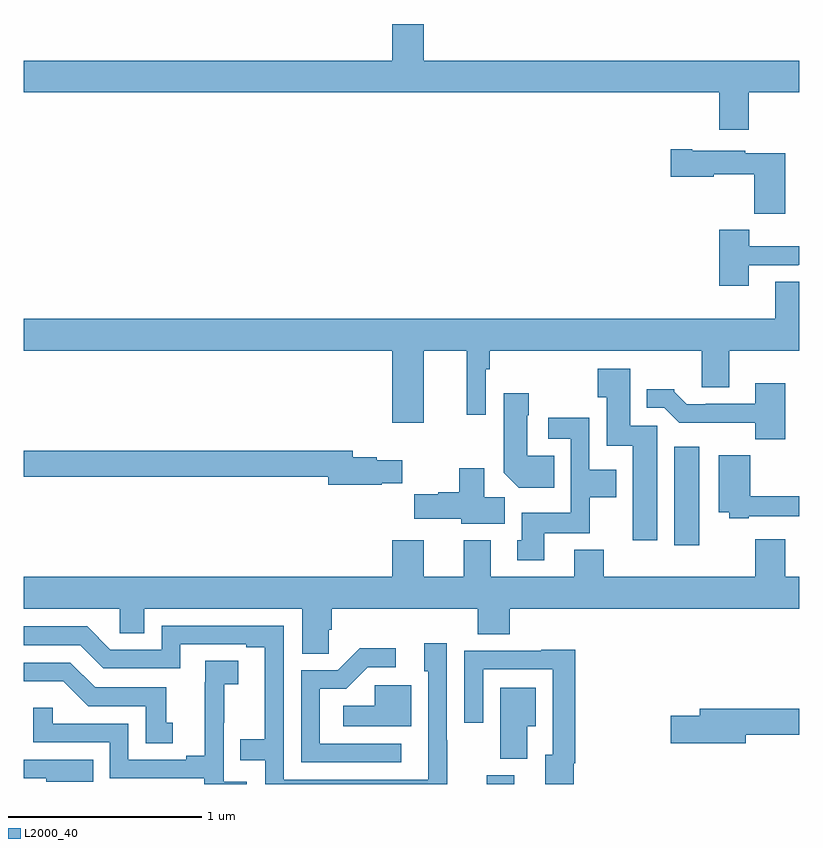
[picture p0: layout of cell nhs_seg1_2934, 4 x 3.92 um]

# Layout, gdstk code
import gdstk
lib = gdstk.Library(unit=1e-6, precision=1e-09)
def R(c, l, rs):  # rectangles x0, y0, x1, y1
    for r in rs: c.add(gdstk.rectangle(r[:2], r[2:], *l))
def P(c, l, *ps):  # polygons
    for p in ps: c.add(gdstk.Polygon(p, *l))
L2000_40 = (2000, 40)

nhs_seg1_2934 = lib.new_cell('nhs_seg1_2934')
R(nhs_seg1_2934, L2000_40, [(273.389,512.199,273.529,512.244), (274.355,513.432,274.486,513.94)])
P(nhs_seg1_2934, L2000_40, [(274.741,515.768),(275,515.768),(275,515.932),(273.064,515.932),(273.064,516.121),(272.9,516.121),(272.9,515.932),(271,515.932),(271,515.768),(274.589,515.768),(274.589,515.574),(274.741,515.574)],
  [(274.93,515.455),(274.722,515.455),(274.722,515.467),(274.45,515.467),(274.45,515.475),(274.338,515.475),(274.338,515.333),(274.56,515.333),(274.56,515.345),(274.768,515.345),(274.768,515.141),(274.93,515.141)],
  [(274.741,514.875),(274.997,514.875),(274.997,514.878),(275,514.878),(275,514.975),(274.744,514.975),(274.744,515.059),(274.589,515.059),(274.589,514.77),(274.741,514.77)],
  [(273.064,514.436),(273.286,514.436),(273.286,514.104),(273.384,514.104),(273.384,514.34),(273.404,514.34),(273.404,514.436),(274.499,514.436),(274.499,514.246),(274.639,514.246),(274.639,514.436),(275,514.436),(275,514.79),(274.877,514.79),(274.877,514.6),(271,514.6),(271,514.436),(272.9,514.436),(272.9,514.062),(273.064,514.062)],
  [(274.267,514.047),(274.129,514.047),(274.129,514.342),(273.961,514.342),(273.961,514.195),(274.007,514.195),(274.007,513.944),(274.142,513.944),(274.142,513.456),(274.267,513.456)],
  [(274.928,514.267),(274.775,514.267),(274.775,514.161),(274.519,514.161),(274.519,514.158),(274.42,514.158),(274.356,514.222),(274.356,514.237),(274.214,514.237),(274.214,514.14),(274.305,514.14),(274.381,514.064),(274.773,514.064),(274.773,513.977),(274.928,513.977)],
  [(273.737,513.892),(273.598,513.892),(273.598,514.103),(273.606,514.103),(273.606,514.216),(273.476,514.216),(273.476,513.806),(273.554,513.728),(273.737,513.728)],
  [(273.685,513.494),(273.921,513.494),(273.921,513.68),(274.057,513.68),(274.057,513.82),(273.918,513.82),(273.918,514.09),(273.705,514.09),(273.705,513.981),(273.822,513.981),(273.822,513.598),(273.569,513.598),(273.569,513.456),(273.545,513.456),(273.545,513.354),(273.685,513.354)],
  [(272.846,513.751),(272.951,513.751),(272.951,513.871),(272.82,513.871),(272.82,513.884),(272.698,513.884),(272.698,513.92),(271,513.92),(271,513.784),(272.57,513.784),(272.57,513.742),(272.846,513.742)],
  [(274.741,513.582),(275,513.582),(275,513.683),(274.748,513.683),(274.748,513.895),(274.586,513.895),(274.586,513.602),(274.641,513.602),(274.641,513.57),(274.741,513.57)],
  [(273.481,513.68),(273.376,513.68),(273.376,513.829),(273.247,513.829),(273.247,513.704),(273.138,513.704),(273.138,513.693),(273.013,513.693),(273.013,513.569),(273.258,513.569),(273.258,513.542),(273.481,513.542)],
  [(272.574,512.995),(272.588,512.995),(272.588,513.104),(273.341,513.104),(273.341,512.971),(273.506,512.971),(273.506,513.104),(275,513.104),(275,513.268),(274.928,513.268),(274.928,513.463),(274.775,513.463),(274.775,513.268),(273.992,513.268),(273.992,513.409),(273.839,513.409),(273.839,513.268),(273.409,513.268),(273.409,513.457),(273.269,513.457),(273.269,513.268),(273.064,513.268),(273.064,513.457),(272.9,513.457),(272.9,513.268),(271,513.268),(271,513.104),(271.494,513.104),(271.494,512.977),(271.621,512.977),(271.621,513.104),(272.435,513.104),(272.435,512.872),(272.574,512.872)],
  [(273.185,512.426),(273.183,512.426),(273.183,512.926),(273.065,512.926),(273.065,512.781),(273.087,512.781),(273.087,512.22),(272.34,512.22),(272.34,513.015),(271.71,513.015),(271.71,512.892),(271.446,512.892),(271.326,513.012),(271,513.012),(271,512.916),(271.29,512.916),(271.41,512.796),(271.806,512.796),(271.806,512.919),(272.147,512.919),(272.147,512.904),(272.243,512.904),(272.243,512.431),(272.116,512.431),(272.116,512.322),(272.244,512.322),(272.244,512.199),(273.185,512.199)],
  [(272.947,512.406),(272.526,512.406),(272.526,512.691),(272.664,512.691),(272.775,512.802),(272.92,512.802),(272.92,512.9),(272.732,512.9),(272.619,512.787),(272.43,512.787),(272.43,512.31),(272.947,512.31)],
  [(273.838,512.305),(273.845,512.305),(273.845,512.893),(273.669,512.893),(273.669,512.886),(273.273,512.886),(273.273,512.514),(273.369,512.514),(273.369,512.79),(273.729,512.79),(273.729,512.349),(273.689,512.349),(273.689,512.199),(273.838,512.199)],
  [(272.149,512.211),(272.031,512.211),(272.031,512.515),(272.033,512.515),(272.033,512.713),(272.107,512.713),(272.107,512.834),(271.936,512.834),(271.936,512.723),(271.934,512.723),(271.934,512.345),(271.838,512.345),(271.838,512.325),(271.539,512.325),(271.539,512.511),(271.149,512.511),(271.149,512.593),(271.048,512.593),(271.048,512.415),(271.443,512.415),(271.443,512.229),(271.93,512.229),(271.93,512.199),(272.149,512.199)],
  [(271.768,512.514),(271.735,512.514),(271.735,512.697),(271.368,512.697),(271.239,512.826),(271,512.826),(271,512.729),(271.204,512.729),(271.332,512.601),(271.628,512.601),(271.628,512.41),(271.768,512.41)],
  [(272.998,512.709),(272.811,512.709),(272.811,512.602),(272.649,512.602),(272.649,512.498),(272.998,512.498)],
  [(273.598,512.498),(273.64,512.498),(273.64,512.695),(273.458,512.695),(273.458,512.329),(273.598,512.329)],
  [(274.726,512.452),(275,512.452),(275,512.588),(274.487,512.588),(274.487,512.552),(274.338,512.552),(274.338,512.41),(274.726,512.41)],
  [(271.358,512.325),(271,512.325),(271,512.229),(271.115,512.229),(271.115,512.21),(271.358,512.21)])

lib.write_gds('nhs_seg1_2934.gds')
